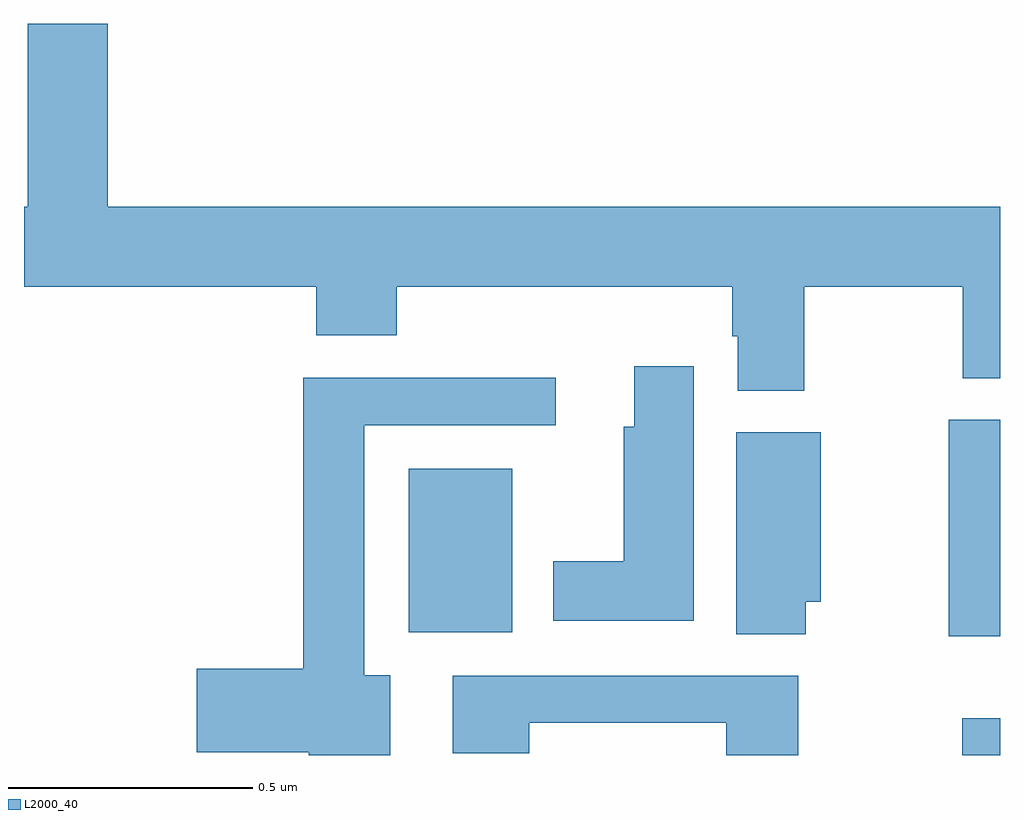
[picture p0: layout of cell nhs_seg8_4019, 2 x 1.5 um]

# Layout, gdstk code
import gdstk
lib = gdstk.Library(unit=1e-6, precision=1e-09)
def R(c, l, rs):  # rectangles x0, y0, x1, y1
    for r in rs: c.add(gdstk.rectangle(r[:2], r[2:], *l))
def P(c, l, *ps):  # polygons
    for p in ps: c.add(gdstk.Polygon(p, *l))
L2000_40 = (2000, 40)

nhs_seg8_4019 = lib.new_cell('nhs_seg8_4019')
R(nhs_seg8_4019, L2000_40, [(166.923,1088.9,167,1088.976), (166.895,1089.144,167,1089.588), (165.788,1089.152,166,1089.487)])
P(nhs_seg8_4019, L2000_40, [(166.599,1089.86),(166.924,1089.86),(166.924,1089.673),(167,1089.673),(167,1090.024),(165.172,1090.024),(165.172,1090.399),(165.008,1090.399),(165.008,1090.024),(165,1090.024),(165,1089.86),(165.599,1089.86),(165.599,1089.761),(165.764,1089.761),(165.764,1089.86),(166.451,1089.86),(166.451,1089.759),(166.463,1089.759),(166.463,1089.647),(166.599,1089.647)],
  [(166.372,1089.697),(166.25,1089.697),(166.25,1089.573),(166.229,1089.573),(166.229,1089.298),(166.085,1089.298),(166.085,1089.176),(166.372,1089.176)],
  [(165.751,1089.064),(165.697,1089.064),(165.697,1089.576),(166.09,1089.576),(166.09,1089.674),(165.572,1089.674),(165.572,1089.077),(165.354,1089.077),(165.354,1088.906),(165.584,1088.906),(165.584,1088.9),(165.751,1088.9)],
  [(166.602,1089.215),(166.633,1089.215),(166.633,1089.562),(166.46,1089.562),(166.46,1089.148),(166.602,1089.148)],
  [(166.587,1089.063),(165.879,1089.063),(165.879,1088.904),(166.035,1088.904),(166.035,1088.967),(166.439,1088.967),(166.439,1088.9),(166.587,1088.9)])

lib.write_gds('nhs_seg8_4019.gds')
